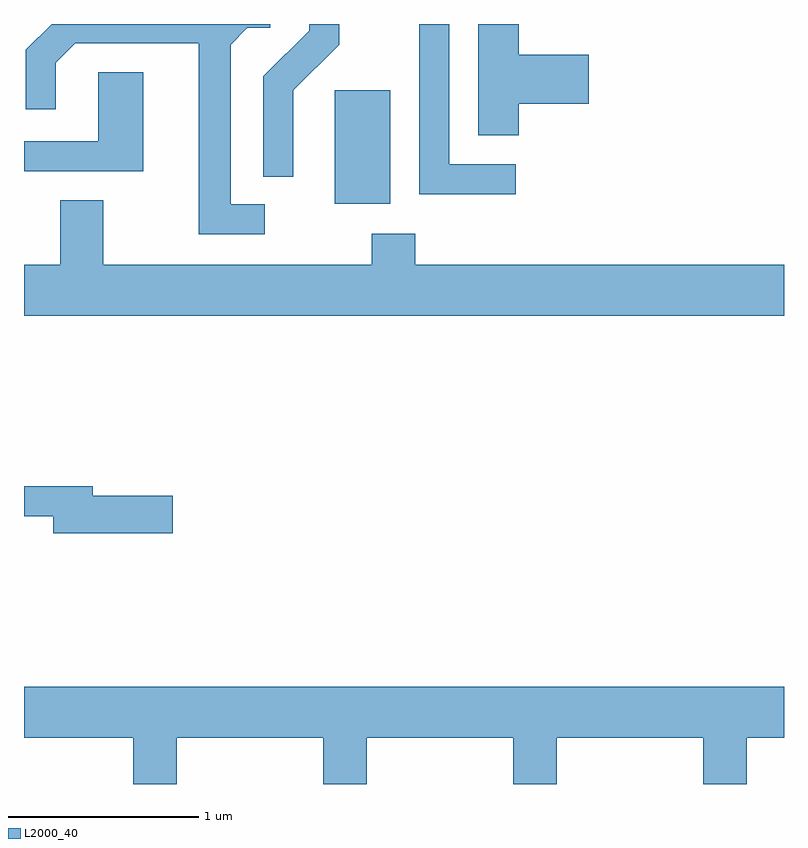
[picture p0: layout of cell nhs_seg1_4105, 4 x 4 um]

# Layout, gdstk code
import gdstk
lib = gdstk.Library(unit=1e-6, precision=1e-09)
def R(c, l, rs):  # rectangles x0, y0, x1, y1
    for r in rs: c.add(gdstk.rectangle(r[:2], r[2:], *l))
def P(c, l, *ps):  # polygons
    for p in ps: c.add(gdstk.Polygon(p, *l))
L2000_40 = (2000, 40)

nhs_seg1_4105 = lib.new_cell('nhs_seg1_4105')
R(nhs_seg1_4105, L2000_40, [(309.246,966.766,309.539,967.364)])
P(nhs_seg1_4105, L2000_40, [(310.214,967.291),(310.584,967.291),(310.584,967.549),(310.214,967.549),(310.214,967.712),(310.001,967.712),(310.001,967.126),(310.214,967.126)],
  [(308.878,966.764),(308.699,966.764),(308.699,967.604),(308.787,967.691),(308.908,967.691),(308.908,967.712),(307.757,967.712),(307.621,967.577),(307.621,967.263),(307.779,967.263),(307.779,967.509),(307.882,967.611),(308.531,967.611),(308.531,966.606),(308.878,966.606)],
  [(309.029,967.364),(309.269,967.604),(309.269,967.712),(309.111,967.712),(309.111,967.677),(308.871,967.437),(308.871,966.908),(309.029,966.908)],
  [(310.198,966.974),(309.849,966.974),(309.849,967.712),(309.691,967.712),(309.691,966.816),(310.198,966.816)],
  [(308.239,967.459),(308.001,967.459),(308.001,967.094),(307.611,967.094),(307.611,966.936),(308.239,966.936)],
  [(311.611,966.444),(309.669,966.444),(309.669,966.609),(309.441,966.609),(309.441,966.444),(308.029,966.444),(308.029,966.784),(307.801,966.784),(307.801,966.444),(307.611,966.444),(307.611,966.176),(311.611,966.176)],
  [(308.394,965.229),(307.974,965.229),(307.974,965.279),(307.611,965.279),(307.611,965.121),(307.766,965.121),(307.766,965.031),(308.394,965.031)],
  [(308.414,963.956),(309.186,963.956),(309.186,963.712),(309.414,963.712),(309.414,963.956),(310.186,963.956),(310.186,963.712),(310.414,963.712),(310.414,963.956),(311.186,963.956),(311.186,963.712),(311.414,963.712),(311.414,963.956),(311.611,963.956),(311.611,964.224),(307.611,964.224),(307.611,963.956),(308.186,963.956),(308.186,963.712),(308.414,963.712)])

lib.write_gds('nhs_seg1_4105.gds')
